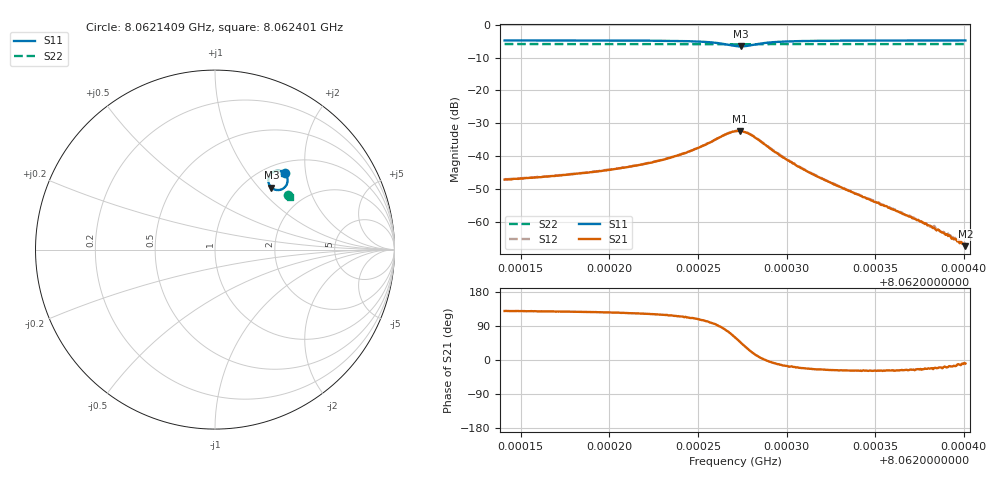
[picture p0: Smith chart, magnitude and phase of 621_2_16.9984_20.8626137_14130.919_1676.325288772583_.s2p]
#  HZ  S  RI  R  50.00
! Rohde & Schwarz Vector Network Analyzer
! Rohde-Schwarz,ZNB20-2Port,1311601062101988,3.16
! Created: UTC 3/20/2024, 11:19:56 PM
! freq[Hz]  re:S11  im:S11  re:S21  im:S21  re:S12  im:S12  re:S22  im:S22
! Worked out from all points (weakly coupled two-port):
!   401 points, 8.0621409 GHz to 8.062401 GHz, reference 50 ohm
!   highest |S21| = -32.32 dB at 8.0622735 GHz (marker M1); lowest = -67.4 dB at 8.062401 GHz (marker M2)
!   lowest |S11| = -6.6 dB at 8.0622742 GHz (marker M3), VSWR 2.75, Z = 66.2 + j58.6 ohm
!   |S11| at or under -10 dB: nowhere
!   |S22| runs from -6.0 to -5.9 dB; largest |S21 - S12| = 0.0014
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8.06214088e9  0.3872 0.4262  -0.00278 0.00339  -0.00262 0.00359  0.4072 0.3037
8.06218445e9  0.3929 0.4199  -0.00331 0.0044  -0.00307 0.00461  0.4088 0.3012
8.06220916e9  0.397 0.4137  -0.00377 0.00557  -0.00348 0.00584  0.4097 0.2999
8.06222801e9  0.4012 0.4048  -0.00425 0.00736  -0.00381 0.00767  0.4106 0.2986
8.06224622e9  0.4045 0.3864  -0.00432 0.0113  -0.00371 0.0115  0.411 0.2968
8.06225792e9  0.3986 0.3606  -0.00223 0.0165  -0.00114 0.0168  0.4107 0.2952
8.06226638e9  0.3696 0.3349  0.00498 0.0213  0.00616 0.021  0.4094 0.2941
8.06227093e9  0.3375 0.3333  0.0119 0.0207  0.013 0.0202  0.4081 0.2942
8.06227353e9  0.3182 0.3424  0.016 0.0182  0.0169 0.0176  0.4075 0.2947
8.06227418e9  0.3141 0.3459  0.0167 0.0172  0.0178 0.0166  0.4074 0.2949
8.06228003e9  0.2967 0.3869  0.0194 0.00782  0.0201 0.00701  0.4072 0.2966
8.06228914e9  0.3169 0.4277  0.0141 -0.000546  0.0142 -0.00133  0.4091 0.2977
8.06229759e9  0.3371 0.4378  0.00941 -0.00233  0.0095 -0.00287  0.4103 0.2974
8.06230409e9  0.3478 0.4395  0.00731 -0.00242  0.00717 -0.00285  0.4111 0.2971
8.06231449e9  0.3588 0.4389  0.00489 -0.00216  0.00483 -0.00248  0.412 0.2964
8.06232815e9  0.3676 0.4368  0.00319 -0.00161  0.00314 -0.00182  0.4128 0.2957
8.06235806e9  0.3777 0.4325  0.00144 -0.000747  0.00143 -0.000873  0.414 0.2938
8.06237041e9  0.3804 0.4309  0.00106 -0.000509  0.00101 -0.0006  0.4146 0.293
8.06238017e9  0.3821 0.4299  0.000818 -0.000333  0.000791 -0.00039  0.4151 0.2925
8.06238992e9  0.3834 0.4289  0.000598 -0.000204  0.000616 -0.000293  0.4154 0.292
8.06239837e9  0.3847 0.4282  0.000487 -0.000118  0.00047 -0.000133  0.4155 0.2916
8.06240097e9  0.385 0.428  0.000419 -6.9e-05  0.000481 -7.83e-05  0.4157 0.2916
